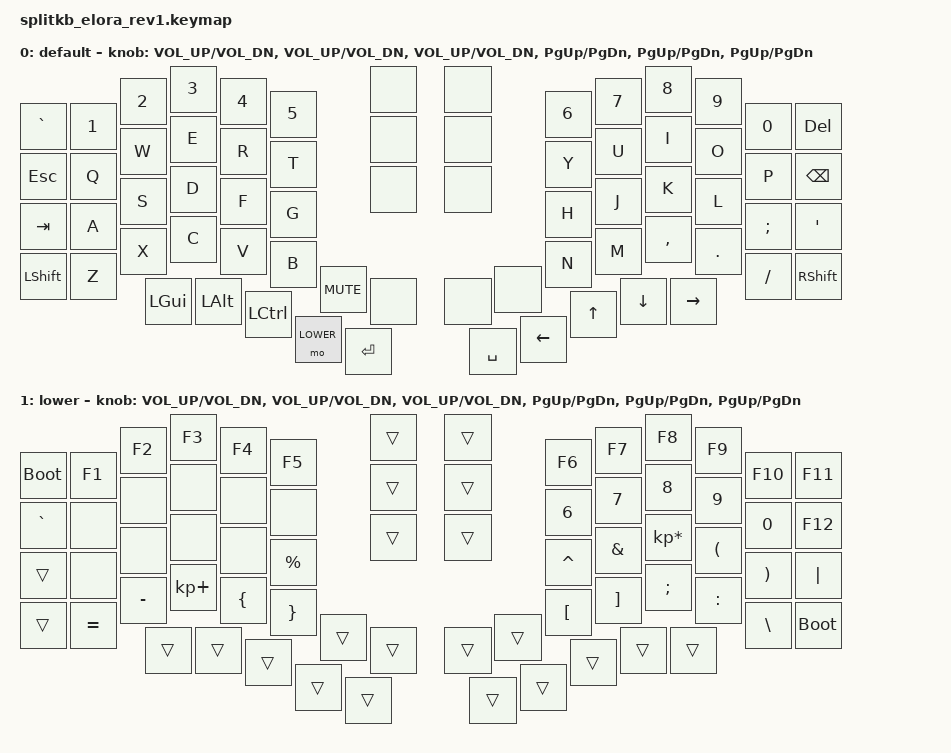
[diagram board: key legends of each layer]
/*
 * Copyright (c) 2020 The ZMK Contributors
 *
 * SPDX-License-Identifier: MIT
 */

#include <behaviors.dtsi>
#include <dt-bindings/zmk/keys.h>

#define BASE 0
#define LOWER 1

/ {

    keymap {
        compatible = "zmk,keymap";

        // The 7th column on rows 1-3 of each half is the pedal (TRRS jack) inputs.
        default_layer {
            display-name = "default";
// --------------------------------------------------------------------------------------------------------------------------------
// |   `   |  1  |  2  |  3   |  4   |  5   |      |                         |      |  6   |  7  |  8    |   9   |   0   |  DEL  |
// |  ESC  |  Q  |  W  |  E   |  R   |  T   |      |                         |      |  Y   |  U  |  I    |   O   |   P   | BKSPC |
// |  TAB  |  A  |  S  |  D   |  F   |  G   |      |                         |      |  H   |  J  |  K    |   L   |   ;   |   '   |
// | SHIFT |  Z  |  X  |  C   |  V   |  B   | MUTE |      |       |      |      |  N   |  M  |  ,    |   .   |   /   | SHIFT |
//               | GUI | ALT  | CTRL | LOWER| ENTER|                         | SPACE| LEFT |  UP | DOWN  | RIGHT |
            bindings = <
&kp GRAVE &kp N1 &kp N2   &kp N3   &kp N4    &kp N5    &none                          &none     &kp N6   &kp N7 &kp N8    &kp N9    &kp N0   &kp DEL
&kp ESC   &kp Q  &kp W    &kp E    &kp R     &kp T     &none                          &none     &kp Y    &kp U  &kp I     &kp O     &kp P    &kp BSPC
&kp TAB   &kp A  &kp S    &kp D    &kp F     &kp G     &none                          &none     &kp H    &kp J  &kp K     &kp L     &kp SEMI &kp SQT
&kp LSHFT &kp Z  &kp X    &kp C    &kp V     &kp B     &kp C_MUTE &none     &none     &none     &kp N    &kp M  &kp COMMA &kp DOT   &kp FSLH &kp RSHFT
                 &kp LGUI &kp LALT &kp LCTRL &mo LOWER &kp RET                        &kp SPACE &kp LEFT &kp UP &kp DOWN  &kp RIGHT
            >;

            sensor-bindings = <
                &inc_dec_kp C_VOL_UP C_VOL_DN &inc_dec_kp C_VOL_UP C_VOL_DN &inc_dec_kp C_VOL_UP C_VOL_DN
                &inc_dec_kp PG_UP PG_DN       &inc_dec_kp PG_UP PG_DN       &inc_dec_kp PG_UP PG_DN
            >;
        };

        lower_layer {
            display-name = "lower";
// --------------------------------------------------------------------------------------------------------------------------------
// |  BOOT |  F1 |  F2 |  F3  |  F4  |  F5  |      |                         |      |  F6  |  F7   |  F8   |  F9  |  F10  |  F11  |
// |   `   |     |     |      |      |      |      |                         |      |  6   |  7    |  8    |  9   |   0   |  F12  |
// |       |     |     |      |      |  %   |      |                         |      |  ^   |  &    |  *    |  (   |   )   |   |   |
// |       |  =  |  -  |  +   |  {   |  }   |      |      |       |      |      |  [   |  ]    |  ;    |  :   |   \   |  BOOT |
//               |     |      |      |      |      |                         |      |      |       |       |      |
            bindings = <
&bootloader &kp F1    &kp F2    &kp F3      &kp F4   &kp F5    &trans                  &trans    &kp F6    &kp F7   &kp F8          &kp F9    &kp F10   &kp F11
&kp GRAVE   &none     &none     &none       &none    &none     &trans                  &trans    &kp N6    &kp N7   &kp N8          &kp N9    &kp N0    &kp F12
&trans      &none     &none     &none       &none    &kp PRCNT &trans                  &trans    &kp CARET &kp AMPS &kp KP_MULTIPLY &kp LPAR  &kp RPAR  &kp PIPE
&trans      &kp EQUAL &kp MINUS &kp KP_PLUS &kp LBRC &kp RBRC  &trans  &trans  &trans  &trans    &kp LBKT  &kp RBKT &kp SEMI        &kp COLON &kp BSLH  &bootloader
                      &trans    &trans      &trans   &trans    &trans                  &trans    &trans    &trans   &trans          &trans
            >;

            sensor-bindings = <
                &inc_dec_kp C_VOL_UP C_VOL_DN &inc_dec_kp C_VOL_UP C_VOL_DN &inc_dec_kp C_VOL_UP C_VOL_DN
                &inc_dec_kp PG_UP PG_DN       &inc_dec_kp PG_UP PG_DN       &inc_dec_kp PG_UP PG_DN
            >;
        };

    };
};
